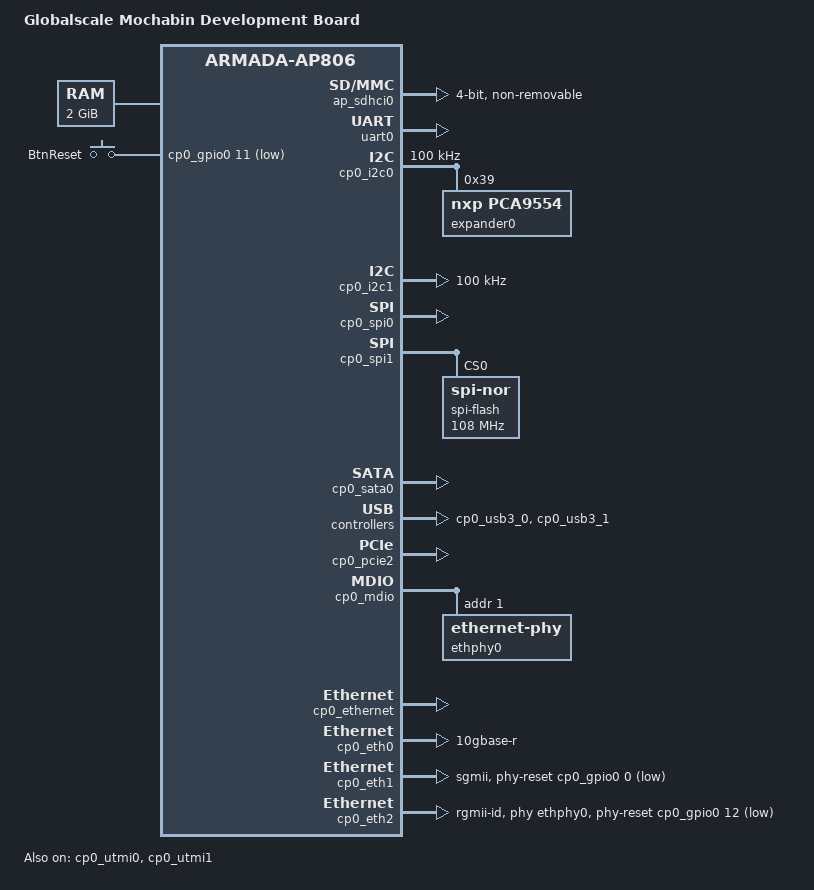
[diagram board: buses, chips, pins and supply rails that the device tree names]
/*
 * Device Tree file for Globalscale Armada 7040 MOCHAbin board
 *
 * Copyright (C) 2022 Globalscale Technologies Inc.
 * Copyright (C) 2016 Marvell Technology Group Ltd.
 *
 * This file is dual-licensed: you can use it either under the terms
 * of the GPLv2 or the X11 license, at your option. Note that this dual
 * licensing only applies to this file, and not this project as a
 * whole.
 *
 *  a) This library is free software; you can redistribute it and/or
 *     modify it under the terms of the GNU General Public License as
 *     published by the Free Software Foundation; either version 2 of the
 *     License, or (at your option) any later version.
 *
 *     This library is distributed in the hope that it will be useful,
 *     but WITHOUT ANY WARRANTY; without even the implied warranty of
 *     MERCHANTABILITY or FITNESS FOR A PARTICULAR PURPOSE.  See the
 *     GNU General Public License for more details.
 *
 * Or, alternatively,
 *
 *  b) Permission is hereby granted, free of charge, to any person
 *     obtaining a copy of this software and associated documentation
 *     files (the "Software"), to deal in the Software without
 *     restriction, including without limitation the rights to use,
 *     copy, modify, merge, publish, distribute, sublicense, and/or
 *     sell copies of the Software, and to permit persons to whom the
 *     Software is furnished to do so, subject to the following
 *     conditions:
 *
 *     The above copyright notice and this permission notice shall be
 *     included in all copies or substantial portions of the Software.
 *
 *     THE SOFTWARE IS PROVIDED "AS IS", WITHOUT WARRANTY OF ANY KIND,
 *     EXPRESS OR IMPLIED, INCLUDING BUT NOT LIMITED TO THE WARRANTIES
 *     OF MERCHANTABILITY, FITNESS FOR A PARTICULAR PURPOSE AND
 *     NONINFRINGEMENT. IN NO EVENT SHALL THE AUTHORS OR COPYRIGHT
 *     HOLDERS BE LIABLE FOR ANY CLAIM, DAMAGES OR OTHER LIABILITY,
 *     WHETHER IN AN ACTION OF CONTRACT, TORT OR OTHERWISE, ARISING
 *     FROM, OUT OF OR IN CONNECTION WITH THE SOFTWARE OR THE USE OR
 *     OTHER DEALINGS IN THE SOFTWARE.
 */

#include "armada-7040.dtsi"

#define CP110_NUM				0
#define SPI_DIRECT_BASE				(0xf9000000)

/ {
	model = "Globalscale Mochabin Development Board";
	compatible = "marvell,armada7040-mochabin", "marvell,armada7040",
				 "marvell,armada-ap806-quad", "marvell,armada-ap806";

	chosen {
		stdout-path = "serial0:115200n8";
	};

	aliases {
		i2c0 = &cp0_i2c0;
		i2c1 = &cp0_i2c1;
		spi0 = &cp0_spi1;
		spi1 = &cp0_spi0;
		gpio0 = &ap_gpio0;
		gpio1 = &cp0_gpio0;
		gpio2 = &cp0_gpio1;
	};

	memory@00000000 {
		device_type = "memory";
		reg = <0x0 0x0 0x0 0x80000000>;
	};

	cp0 {
		config-space {
			ranges = <0x0 U64_TO_U32_H(CP110_BASE)
					  U64_TO_U32_L(CP110_BASE) 0x2000000>,	/* internal regs */
					 <0x2000000 U64_TO_U32_H(SPI_DIRECT_BASE)
					 U64_TO_U32_L(SPI_DIRECT_BASE) 0x1000000>;	/* SPI1-DEV0 */
		};
	};

	gpio-keys {
		pinctrl-names = "default";
		pinctrl-0 = <&cp0_keyrst_pins>;
		compatible = "gpio-keys";

		ResetBtn {
			label = "BtnReset";
			gpios = <&cp0_gpio0 11 GPIO_ACTIVE_LOW>;
		};
	};
};

&ap_pinctl {
	   /* MPP Bus:
	    * EMMC  [0-5]
	    * UART0 [11,19]
	    */
			  /* 0 1 2 3 4 5 6 7 8 9 */
	pin-func = < 1 1 1 1 1 1 0 0 0 0
				 0 3 0 0 0 0 0 0 0 3 >;
};

/* eMMC */
&ap_sdhci0 {
	status = "okay";
	bus-width = <4>;
	no-1-8-v;
	non-removable;
	pinctrl-names = "default";
	pinctrl-0 = <&ap_emmc_pins>;
};

/* for debug-uart console */
&uart0 {
	status = "okay";
};

&cp0_pinctl {
		/* MPP Bus:
		 * E6341_RSTn        [0]
		 * E6341_INT         [1]
		 * I2C1              [2,3]
		 * PCIE1_CLKREQn     [5]
		 * UART0             [6,7]
		 * PCIE1_WAKEn       [8]
		 * PCIE_RSTOUTn      [9]  (GPIO)
		 * DEVSLP_M2-2       [10]
		 * PHY0_RSTn         [12] (88e1512-rst)
		 * SPI1              [13-16]
		 * PHY0_INT          [24] (88e1512-int)
		 * 9554_INT          [27] (ioexp-int)
		 * IS_CLK_VBM        [29] (is31fl3199-clk-vbm)
		 * IS_SDB            [30] (is31fl3199-sdb)
		 * MKR_PWM           [31] (mikroBus-pwm)
		 * MKR_INT           [32] (mikroBus-int)
		 * MKR_RST           [33] (mikroBus-rst)
		 * DEVSLP_M2-1       [34] (m.2-sata-devslp)
		 * SMI               [35,36]
		 * I2C0              [37,38]
		 * RGMII2            [44-55]
		 * SPI0              [56-59]
		 * GPIO              [4,11,17-23,25-26,28]
		 */
			/*   0   1   2   3   4   5   6   7   8   9 */
	pin-func = < 0   0   7   7   0   7   8   8   0   0
				 0   0   0   3   3   3   3   0   0   0
				 0   0   0   0   0   0   0   0   0   0
				 0   0   0   0   0   8   8   2   2   0
				 0   0   0   0   1   1   1   1   1   1
				 1   1   1   1   1   1   6   6   6   6
				 0   0   0 >;

	cp0_i2c1_pins: cp0-i2c-pins-1 {
		marvell,pins = < 2 3 >;
		marvell,function = <7>;
	};

	cp0_spi0_pins: cp0-spi-pins-0 {
		marvell,pins = < 56 57 58 59 >;
		marvell,function = <6>;
	};

	cp0_spi1_pins: cp0-spi-pins-1 {
		marvell,pins = < 13 14 15 16 >;
		marvell,function = <3>;
	};

	cp0_smi_pins: cp0-smi-pins {
		marvell,pins = < 35 36 >;
		marvell,function = <8>;
	};

	cp0_keyrst_pins: cp0-keyrst-pins {
		marvell,pins = < 11 >;
		marvell,function = <0>;
	};
};

/* for mikroBUS, SFP, pca9554-io-exp */
&cp0_i2c0 {
	pinctrl-names = "default";
	pinctrl-0 = <&cp0_i2c0_pins>;
	status = "okay";
	clock-frequency = <100000>;

	/*
	 * PCA9554 GPIO expander
	 *  0-SFP+_TX_FAULT
	 *  1-SFP+_TX_DISABLE
	 *  2-SFP+_PRSNT
	 *  3-SFP+_LOSS
	 *  4-SFP_TX_FAULT
	 *  5-SFP_TX_DISABLE
	 *  6-SFP_PRSNT
	 *  7-SFP_LOSS
	 */
	expander0: pca953x@39 {
		compatible = "nxp,pca9554";
		#gpio-cells = <2>;
		reg = <0x39>;
		status = "okay";
	};
};

/* for IS31FL3199, mini-PCIe, SFP+ */
&cp0_i2c1 {
	pinctrl-names = "default";
	pinctrl-0 = <&cp0_i2c1_pins>;
	status = "okay";
	clock-frequency = <100000>;
};

/* for mikroBUS */
&cp0_spi0 {
	pinctrl-names = "default";
	pinctrl-0 = <&cp0_spi0_pins>;
	status = "okay";
};

/* for SPI Flash */
&cp0_spi1 {
	pinctrl-names = "default";
	pinctrl-0 = <&cp0_spi1_pins>;
	reg = <0x700680 0x50>,			/* control */
	      <0x2000000 0x1000000>,	/* CS0 */
	      <0 0xffffffff>,			/* CS1 */
	      <0 0xffffffff>,			/* CS2 */
	      <0 0xffffffff>;			/* CS3 */
	status = "okay";

	spi-flash@0 {
		#address-cells = <0x1>;
		#size-cells = <0x1>;
		compatible = "jedec,spi-nor", "spi-flash";
		reg = <0x0>;
		spi-max-frequency = <108000000>;
	};
};

&cp0_comphy {
	phy0 {
		phy-type = <COMPHY_TYPE_SGMII1>;
		phy-speed = <COMPHY_SPEED_3_125G>;
	};

	phy1 {
		phy-type = <COMPHY_TYPE_USB3_HOST0>;
	};

	phy2 {
		phy-type = <COMPHY_TYPE_SATA0>;
	};

	phy3 {
		phy-type = <COMPHY_TYPE_SATA1>;
	};

	phy4 {
		phy-type = <COMPHY_TYPE_SFI0>;
		phy-speed = <COMPHY_SPEED_10_3125G>;
	};

	phy5 {
		phy-type = <COMPHY_TYPE_PEX2>;
	};
};

/* m.2 sata */
&cp0_sata0 {
	status = "okay";
};

/* for USB3 HUB */
&cp0_usb3_0 {
	status = "okay";
};

&cp0_usb3_1 {
	status = "okay";
};

&cp0_utmi0 {
	status = "okay";
};

&cp0_utmi1 {
	status = "okay";
};

&cp0_pcie1 {
	status = "disabled";

};

/* mini-pcie#1 (J5) */
&cp0_pcie2 {
	status = "okay";
	// marvell,reset-gpio = <&cp0_gpio0 9 GPIO_ACTIVE_LOW>;
	marvell,reset-gpio = <&cp0_gpio0 9 GPIO_ACTIVE_HIGH>;

	ranges = <0x81000000 0x00 0xf9020000 0x00 0xf9020000 0x00 0x10000 0x82000000 0x00 0xf8000000 0x00 0xf8000000 0x00 0xf00000>;
	// FROM MFR: ranges = <0x81000000 0x00 0xf9020000 0x00 0xf9020000 0x00 0x10000 0x82000000 0x00 0xf8000000 0x00 0xf8000000 0x00 0xf00000>;
	// BROKEN:   ranges =                                                         <0x82000000 0x00 0xf8000000 0x00 0xf8000000 0x00 0xf00000>;
};

&cp0_mdio {
	pinctrl-names = "default";
	pinctrl-0 = <&cp0_smi_pins>;
	status = "okay";

	/* for 88e1512 phy */
	ethphy0: ethernet-phy@0 {
		reg = <1>;
	};
};

&cp0_ethernet {
	status = "okay";
};

/* for 10G SFP+ : SerDes#2 */
&cp0_eth0 {
	status = "okay";
	phy-mode = "10gbase-r";
	marvell,sfp-tx-disable-gpio = <&expander0 1 GPIO_ACTIVE_HIGH>;
};

/* for Topaz 88e6341 : SerDes#0 */
&cp0_eth1 {
	status = "okay";
	phy-mode = "sgmii";
	phy-speed = <2500>;
	phy-reset-gpios = <&cp0_gpio0 0 GPIO_ACTIVE_LOW>;
};

/* for 88e1512 phy (RJ45 + SFP) : RGMII#2 */
&cp0_eth2 {
	pinctrl-names = "default";
	pinctrl-0 = <&cp0_ge2_rgmii_pins>;
	status = "okay";
	phy-mode = "rgmii-id";
	phy = <&ethphy0>;
	marvell,sfp-tx-disable-gpio = <&expander0 5 GPIO_ACTIVE_HIGH>;
	phy-reset-gpios = <&cp0_gpio0 12 GPIO_ACTIVE_LOW>;
};
